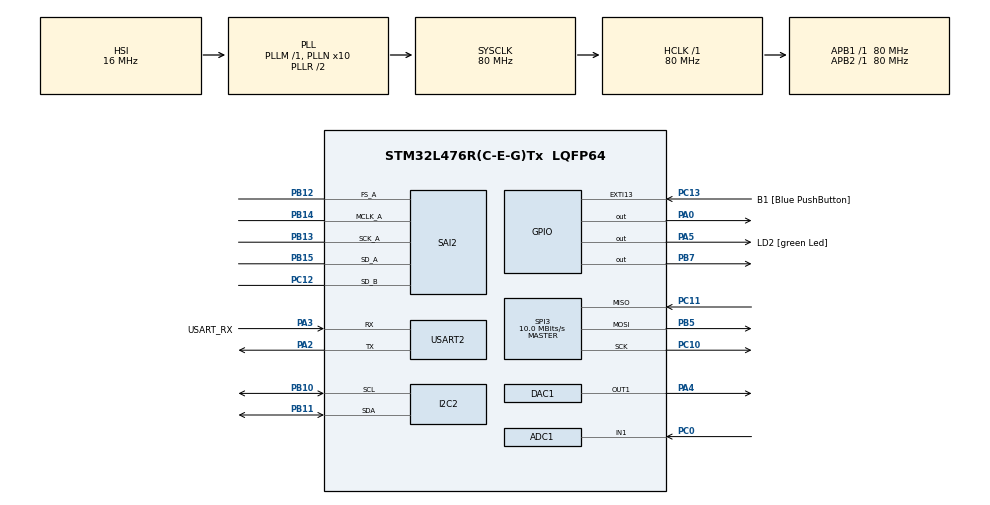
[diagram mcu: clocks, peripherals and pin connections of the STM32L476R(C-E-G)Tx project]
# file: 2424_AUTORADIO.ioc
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ADC1.Channel-0\#ChannelRegularConversion=ADC_CHANNEL_1
ADC1.NbrOfConversionFlag=1
ADC1.OffsetNumber-0\#ChannelRegularConversion=ADC_OFFSET_NONE
ADC1.Rank-0\#ChannelRegularConversion=1
ADC1.SamplingTime-0\#ChannelRegularConversion=ADC_SAMPLETIME_2CYCLES_5
ADC1.master=1
Dma.ADC1.3.Direction=DMA_PERIPH_TO_MEMORY
Dma.ADC1.3.Instance=DMA1_Channel1
Dma.ADC1.3.MemDataAlignment=DMA_MDATAALIGN_HALFWORD
Dma.ADC1.3.MemInc=DMA_MINC_ENABLE
Dma.ADC1.3.Mode=DMA_CIRCULAR
Dma.ADC1.3.PeriphDataAlignment=DMA_PDATAALIGN_HALFWORD
Dma.ADC1.3.PeriphInc=DMA_PINC_DISABLE
Dma.ADC1.3.Priority=DMA_PRIORITY_LOW
Dma.DAC_CH1.2.Direction=DMA_MEMORY_TO_PERIPH
Dma.DAC_CH1.2.Instance=DMA1_Channel3
Dma.DAC_CH1.2.MemDataAlignment=DMA_MDATAALIGN_HALFWORD
Dma.DAC_CH1.2.MemInc=DMA_MINC_ENABLE
Dma.DAC_CH1.2.Mode=DMA_CIRCULAR
Dma.DAC_CH1.2.PeriphDataAlignment=DMA_PDATAALIGN_HALFWORD
Dma.DAC_CH1.2.PeriphInc=DMA_PINC_DISABLE
Dma.DAC_CH1.2.Priority=DMA_PRIORITY_LOW
Dma.Request0=SAI2_A
Dma.Request1=SAI2_B
Dma.Request2=DAC_CH1
Dma.Request3=ADC1
Dma.SAI2_A.0.Direction=DMA_MEMORY_TO_PERIPH
Dma.SAI2_A.0.Instance=DMA1_Channel6
Dma.SAI2_A.0.MemDataAlignment=DMA_MDATAALIGN_WORD
Dma.SAI2_A.0.MemInc=DMA_MINC_ENABLE
Dma.SAI2_A.0.Mode=DMA_CIRCULAR
Dma.SAI2_A.0.PeriphDataAlignment=DMA_PDATAALIGN_WORD
Dma.SAI2_A.0.PeriphInc=DMA_PINC_DISABLE
Dma.SAI2_A.0.Priority=DMA_PRIORITY_LOW
Dma.SAI2_B.1.Direction=DMA_PERIPH_TO_MEMORY
Dma.SAI2_B.1.Instance=DMA1_Channel7
Dma.SAI2_B.1.MemDataAlignment=DMA_MDATAALIGN_WORD
Dma.SAI2_B.1.MemInc=DMA_MINC_ENABLE
Dma.SAI2_B.1.Mode=DMA_CIRCULAR
Dma.SAI2_B.1.PeriphDataAlignment=DMA_PDATAALIGN_WORD
Dma.SAI2_B.1.PeriphInc=DMA_PINC_DISABLE
Dma.SAI2_B.1.Priority=DMA_PRIORITY_LOW
FREERTOS.Tasks01=defaultTask,0,128,StartDefaultTask,Default,NULL,Dynamic,NULL,NULL
I2C2.Timing=0x10D19CE4
Mcu.Family=STM32L4
Mcu.Name=STM32L476R(C-E-G)Tx
Mcu.Package=LQFP64
NVIC.ADC1_2_IRQn=true\:5\:0\:false\:false\:true\:true\:true\:true\:true
NVIC.DMA1_Channel1_IRQn=true\:5\:0\:false\:false\:true\:true\:false\:true\:true
NVIC.DMA1_Channel3_IRQn=true\:5\:0\:false\:false\:true\:true\:false\:true\:true
NVIC.DMA1_Channel6_IRQn=true\:5\:0\:false\:false\:true\:true\:false\:true\:true
NVIC.DMA1_Channel7_IRQn=true\:5\:0\:false\:false\:true\:true\:false\:true\:true
NVIC.PriorityGroup=NVIC_PRIORITYGROUP_4
NVIC.SAI2_IRQn=true\:5\:0\:false\:false\:true\:true\:true\:true\:true
NVIC.SPI3_IRQn=true\:5\:0\:false\:false\:true\:true\:true\:true\:true
NVIC.TIM6_DAC_IRQn=true\:5\:0\:false\:false\:true\:true\:true\:true\:true
NVIC.USART2_IRQn=true\:5\:0\:false\:false\:true\:true\:true\:true\:true
PA0.Signal=GPIO_Output
PA13\ (JTMS-SWDIO).GPIO_Label=TMS
PA13\ (JTMS-SWDIO).Mode=Serial_Wire
PA13\ (JTMS-SWDIO).Signal=SYS_JTMS-SWDIO
PA14\ (JTCK-SWCLK).GPIO_Label=TCK
PA14\ (JTCK-SWCLK).Mode=Serial_Wire
PA14\ (JTCK-SWCLK).Signal=SYS_JTCK-SWCLK
PA2.Mode=Asynchronous
PA2.Signal=USART2_TX
PA3.GPIO_Label=USART_RX
PA3.GPIO_Mode=GPIO_MODE_AF_PP
PA3.GPIO_PuPd=GPIO_NOPULL
PA3.GPIO_Speed=GPIO_SPEED_FREQ_VERY_HIGH
PA3.Mode=Asynchronous
PA3.Signal=USART2_RX
PA4.Signal=COMP_DAC11_group
PA5.GPIO_Label=LD2 [green Led]
PA5.GPIO_ModeDefaultOutputPP=GPIO_MODE_OUTPUT_PP
PA5.GPIO_PuPd=GPIO_NOPULL
PA5.GPIO_Speed=GPIO_SPEED_FREQ_LOW
PA5.Signal=GPIO_Output
PB10.Mode=I2C
PB10.Signal=I2C2_SCL
PB11.Mode=I2C
PB11.Signal=I2C2_SDA
PB12.Mode=SAI_A_MasterWithClock
PB12.Signal=SAI2_FS_A
PB13.Mode=SAI_A_MasterWithClock
PB13.Signal=SAI2_SCK_A
PB14.Mode=SAI_A_MasterWithClock
PB14.Signal=SAI2_MCLK_A
PB15.Mode=SAI_A_MasterWithClock
PB15.Signal=SAI2_SD_A
PB5.Mode=Full_Duplex_Master
PB5.Signal=SPI3_MOSI
PB7.Signal=GPIO_Output
PC0.Signal=ADCx_IN1
PC10.Mode=Full_Duplex_Master
PC10.Signal=SPI3_SCK
PC11.Mode=Full_Duplex_Master
PC11.Signal=SPI3_MISO
PC12.Mode=SAI_B_SyncSlave
PC12.Signal=SAI2_SD_B
PC13.GPIO_Label=B1 [Blue PushButton]
PC13.GPIO_ModeDefaultEXTI=GPIO_MODE_IT_FALLING
PC13.GPIO_PuPd=GPIO_NOPULL
PC13.Signal=GPXTI13
PC14-OSC32_IN\ (PC14).Mode=LSE-External-Oscillator
PC14-OSC32_IN\ (PC14).Signal=RCC_OSC32_IN
PC15-OSC32_OUT\ (PC15).Mode=LSE-External-Oscillator
PC15-OSC32_OUT\ (PC15).Signal=RCC_OSC32_OUT
PH0-OSC_IN\ (PH0).Signal=RCC_OSC_IN
PH1-OSC_OUT\ (PH1).Signal=RCC_OSC_OUT
ProjectManager.HeapSize=0x200
ProjectManager.StackSize=0x400
ProjectManager.TargetToolchain=STM32CubeIDE
RCC.ADCFreq_Value=104000000
RCC.AHBFreq_Value=80000000
RCC.APB1Freq_Value=80000000
RCC.APB1TimFreq_Value=80000000
RCC.APB2Freq_Value=80000000
RCC.APB2TimFreq_Value=80000000
RCC.CortexFreq_Value=80000000
RCC.HCLKFreq_Value=80000000
RCC.HSE_VALUE=8000000
RCC.HSI_VALUE=16000000
RCC.MSI_VALUE=4000000
RCC.PLLN=10
RCC.PLLSAI1N=13
RCC.PLLSAI1P=RCC_PLLP_DIV17
RCC.PLLSourceVirtual=RCC_PLLSOURCE_HSI
RCC.PREFETCH_ENABLE=1
RCC.SYSCLKFreq_VALUE=80000000
RCC.SYSCLKSource=RCC_SYSCLKSOURCE_PLLCLK
RCC.USBFreq_Value=104000000
RCC.VCOOutputFreq_Value=160000000
SAI2.AudioFrequency-SAI_A_MasterWithClock=SAI_AUDIO_FREQUENCY_48K
SAI2.ErrorAudioFreq-SAI_A_MasterWithClock=-0.42 %
SAI2.InitProtocol-SAI_A_MasterWithClock=Enable
SAI2.InitProtocol-SAI_B_SyncSlave=Enable
SAI2.Instance-SAI_A_MasterWithClock=SAI$Index_Block_A
SAI2.Instance-SAI_B_SyncSlave=SAI$Index_Block_B
SAI2.MClockEnable-SAI_A_MasterWithClock=SAI_MASTERCLOCK_ENABLE
SAI2.RealAudioFreq-SAI_A_MasterWithClock=47.794 KHz
SAI2.VirtualMode-SAI_A_MasterWithClock=VM_MASTER
SAI2.VirtualMode-SAI_B_SyncSlave=VM_SLAVE
SAI2.VirtualProtocol-SAI_A_BASIC=VM_BASIC_PROTOCOL
SAI2.VirtualProtocol-SAI_B_BASIC=VM_BASIC_PROTOCOL
SH.ADCx_IN1.0=ADC1_IN1,IN1-Single-Ended
SH.COMP_DAC11_group.0=DAC1_OUT1,DAC_OUT1
SPI3.BaudRatePrescaler=SPI_BAUDRATEPRESCALER_8
SPI3.CalculateBaudRate=10.0 MBits/s
SPI3.DataSize=SPI_DATASIZE_8BIT
SPI3.Direction=SPI_DIRECTION_2LINES
SPI3.Mode=SPI_MODE_MASTER
SPI3.VirtualType=VM_MASTER
USART2.VirtualMode-Asynchronous=VM_ASYNC
VP_FREERTOS_VS_CMSIS_V1.Mode=CMSIS_V1
VP_SAI2_VP_$IpInstance_SAIA_SAI_BASIC.Mode=SAI_A_BASIC
VP_SAI2_VP_$IpInstance_SAIB_SAI_BASIC.Mode=SAI_B_BASIC
VP_TIM6_VS_ClockSourceINT.Mode=Enable_Timer
board=NUCLEO-L476RG

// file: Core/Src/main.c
/* USER CODE BEGIN Header */
/**
 **********
 * @file           : main.c
 * @brief          : Main program body
 **********
 * @attention
 *
 * Copyright (c) 2024 STMicroelectronics.
 * All rights reserved.
 *
 * This software is licensed under terms that can be found in the LICENSE file
 * in the root directory of this software component.
 * If no LICENSE file comes with this software, it is provided AS-IS.
 *
 **********
 */
/* USER CODE END Header */
#include "main.h"
#include "cmsis_os.h"
#include "adc.h"
#include "dac.h"
#include "dma.h"
#include "i2c.h"
#include "sai.h"
#include "spi.h"
#include "tim.h"
#include "usart.h"
#include "gpio.h"

/* USER CODE BEGIN Includes */
#include "sgtl5000.h"
/* USER CODE END Includes */

/* USER CODE BEGIN PD */
#define SGTL5000_I2C_ADDR  0x14  // Adresse I2C du SGTL5000
#define CHIP_ID_REG        0x0000 // Adresse du registre CHIP_ID
#define TEST_REGISTER      0x0030//CHIP_ANA_POWER
#define BUFFER_SIZE 256  // Taille du buffer DMA
uint16_t tx_buffer[BUFFER_SIZE];  // Buffer pour les données à transmettre
uint16_t rx_buffer[BUFFER_SIZE];  // Buffer pour les données reçues
#define TRIANGLE_STEPS 256  // Nombre d'échantillons dans un cycle
uint16_t triangle_wave[TRIANGLE_STEPS];
#define MAX_ADC_VALUE 4095
uint16_t adc_buffer[BUFFER_SIZE];
/* USER CODE END PD */

void SystemClock_Config(void);
void PeriphCommonClock_Config(void);
void MX_FREERTOS_Init(void);

/* USER CODE BEGIN 0 */
int __io_putchar(int ch) {
	HAL_UART_Transmit(&huart2, (uint8_t*)&ch, 1, HAL_MAX_DELAY);
	return ch;
}

void I2C_Scan(void) {
	printf("Scanning I2C bus\r\n");
	for (uint16_t addr = 0; addr < 128; addr++) {
		if (HAL_I2C_IsDeviceReady(&hi2c2, addr , 2, HAL_MAX_DELAY) == HAL_OK) {
			printf("Périphérique trouvé à l'adresse 0x%02X\r\n", addr);
		}
	}
	printf("Scan terminé.\r\n");
}

void Read_CHIP_ID_Debug(void) {
	uint8_t chip_id[2] = {0};

	printf("Lecture du registre CHIP_ID \r\n");

	HAL_StatusTypeDef status = HAL_I2C_Mem_Read(&hi2c2, SGTL5000_I2C_ADDR, CHIP_ID_REG, I2C_MEMADD_SIZE_16BIT, chip_id, 2, HAL_MAX_DELAY);
	if (status == HAL_OK) {
		// Appliquer le décalage de 8 bits pour le MSB
		uint16_t chip_id_val = (chip_id[0] << 8) | chip_id[1];
		printf("CHIP_ID lu avec succès : 0x%04X\r\n", chip_id_val);
	} else {
		printf("Erreur : Impossible de lire le CHIP_ID\r\n");
		uint32_t i2c_error = HAL_I2C_GetError(&hi2c2);
		printf("Erreur I2C\r\n", i2c_error);
	}
}
void Read_Write_Test_Register(void) {
	uint8_t read_data[2] = {0};
	uint16_t test_value = 0xABCD; // Exemple de valeur à écrire
	uint8_t test_data[2] = { (test_value >> 8) & 0xFF, test_value & 0xFF };

	printf("Lecture du registre avant écriture\r\n");
	if (HAL_I2C_Mem_Read(&hi2c2, SGTL5000_I2C_ADDR, TEST_REGISTER, I2C_MEMADD_SIZE_16BIT, read_data, 2, HAL_MAX_DELAY) == HAL_OK) {
		uint16_t value = (read_data[0]) | read_data[1];
		printf("Valeur lue avant écriture : 0x%04X\r\n", value);
	} else {
		printf("Erreur lors de la lecture du registre avant écriture\r\n");
	}

	printf("Écriture dans le registre\r\n");
	if (HAL_I2C_Mem_Write(&hi2c2, SGTL5000_I2C_ADDR, TEST_REGISTER, I2C_MEMADD_SIZE_16BIT, test_data, 2, HAL_MAX_DELAY) == HAL_OK) {
		printf("Valeur écrite avec succès : 0x%04X\r\n", test_value);
	} else {
		printf("Erreur lors de l'écriture dans le registre\r\n");
	}

	printf("Lecture du registre après écriture\r\n");
	if (HAL_I2C_Mem_Read(&hi2c2, SGTL5000_I2C_ADDR, TEST_REGISTER, I2C_MEMADD_SIZE_16BIT, read_data, 2, HAL_MAX_DELAY) == HAL_OK) {
		uint16_t value = (read_data[0] << 8) | read_data[1];
		printf("Valeur lue après écriture : 0x%04X\r\n", value);
	} else {
		printf("Erreur lors de la lecture du registre après écriture\r\n");
	}
}
void Generate_Triangle_Wave(void) {
	for (int i = 0; i < TRIANGLE_STEPS / 2; i++) {
		triangle_wave[i] = (4095 * i) / (TRIANGLE_STEPS / 2);  // Croissance linéaire
	}
	for (int i = TRIANGLE_STEPS / 2; i < TRIANGLE_STEPS; i++) {
		triangle_wave[i] = 4095 - ((4095 * (i - TRIANGLE_STEPS / 2)) / (TRIANGLE_STEPS / 2));  // Décroissance linéaire
	}

	// Ajout de vérifications avec printf
	printf("Signal triangulaire genere :\r\n");
	for (int i = 0; i < TRIANGLE_STEPS; i++) {
		printf("Echantillon %d : %d\r\n", i, triangle_wave[i]);
	}
}
/* USER CODE END 0 */

int main(void)
{

	/* USER CODE BEGIN 1 */
	HAL_StatusTypeDef status1, status2;
	/* USER CODE END 1 */

	/* MCU Configuration--------------------------------------------------------*/

	/* Reset of all peripherals, Initializes the Flash interface and the Systick. */
	HAL_Init();

	/* Configure the system clock */
	SystemClock_Config();

	/* Configure the peripherals common clocks */
	PeriphCommonClock_Config();

	/* Initialize all configured peripherals */
	MX_GPIO_Init();
	MX_DMA_Init();
	MX_USART2_UART_Init();
	MX_SPI3_Init();
	MX_I2C2_Init();
	MX_SAI2_Init();
	MX_DAC1_Init();
	MX_TIM6_Init();
	MX_ADC1_Init();
	/* USER CODE BEGIN 2 */
	__HAL_SAI_ENABLE(&hsai_BlockA2);
	printf("Demarrage du systeme...\r\n");
	I2C_Scan();
	Read_CHIP_ID_Debug();
	Read_Write_Test_Register();
	printf("Début des tests des registres SGTL5000\r\n");

	// Tester chaque registre
	Test_Register(&hi2c2, CHIP_ANA_POWER, 0x6AFF);
	Test_Register(&hi2c2, CHIP_LINREG_CTRL, 0x006C);
	Test_Register(&hi2c2, CHIP_REF_CTRL, 0x004E);
	Test_Register(&hi2c2, CHIP_LINE_OUT_CTRL, 0x0322);
	Test_Register(&hi2c2, CHIP_SHORT_CTRL, 0x1106);
	Test_Register(&hi2c2, CHIP_ANA_CTRL, 0x0133);
	Test_Register(&hi2c2, CHIP_DIG_POWER, 0x0073);
	Test_Register(&hi2c2, CHIP_LINE_OUT_VOL, 0x0505);
	Test_Register(&hi2c2, CHIP_CLK_CTRL, 0x0002);
	Test_Register(&hi2c2, CHIP_I2S_CTRL, 0x0001);
	Test_Register(&hi2c2, CHIP_ADCDAC_CTRL, 0x000C);
	Test_Register(&hi2c2, CHIP_DAC_VOL, 0x3C3C);

	printf("Tests terminés.\r\n");
	printf("Démarrage du système...\r\n");
	/* Démarrer la transmission DMA */
	if (HAL_SAI_Transmit_DMA(&hsai_BlockA2, tx_buffer, BUFFER_SIZE) != HAL_OK) {
		printf("Erreur : Impossible de démarrer la transmission I2S\r\n");
		Error_Handler();
	}

	printf("Transmission I2S démarrée avec succès\r\n");

	// Génération du signal triangulaire
	Generate_Triangle_Wave();

	// Démarrer l'ADC
	status1 = HAL_ADC_Start_DMA(&hadc1, (uint32_t *)adc_buffer, BUFFER_SIZE);
	if (status1 != HAL_OK) {
		printf("Erreur ADC DMA : %d\r\n", status1);
		Error_Handler();
	}

	// Démarrer le DAC
	status2 = HAL_DAC_Start_DMA(&hdac1, DAC_CHANNEL_1, (uint32_t *)adc_buffer, BUFFER_SIZE, DAC_ALIGN_12B_R);
	if (status2 != HAL_OK) {
		printf("Erreur DAC DMA : %d\r\n", status2);
		Error_Handler();
	}

	// Démarrer le Timer 6 pour synchroniser les mises à jour du DAC
	if (HAL_TIM_Base_Start(&htim6) != HAL_OK) {
		printf("Erreur : Impossible de démarrer le Timer 6\r\n");
		Error_Handler();
	}
	printf("Initialisation terminée...\r\n");
	printf("Signal triangulaire envoyé au DAC...\r\n");

	/* USER CODE END 2 */

	/* Call init function for freertos objects (in cmsis_os2.c) */
	MX_FREERTOS_Init();

	/* Start scheduler */
	osKernelStart();

	/* We should never get here as control is now taken by the scheduler */

	/* Infinite loop */
	while (1)
	{

	}
}

void SystemClock_Config(void)
{
	RCC_OscInitTypeDef RCC_OscInitStruct = {0};
	RCC_ClkInitTypeDef RCC_ClkInitStruct = {0};

	/** Configure the main internal regulator output voltage
	 */
	if (HAL_PWREx_ControlVoltageScaling(PWR_REGULATOR_VOLTAGE_SCALE1) != HAL_OK)
	{
		Error_Handler();
	}

	/** Initializes the RCC Oscillators according to the specified parameters
	 * in the RCC_OscInitTypeDef structure.
	 */
	RCC_OscInitStruct.OscillatorType = RCC_OSCILLATORTYPE_HSI;
	RCC_OscInitStruct.HSIState = RCC_HSI_ON;
	RCC_OscInitStruct.HSICalibrationValue = RCC_HSICALIBRATION_DEFAULT;
	RCC_OscInitStruct.PLL.PLLState = RCC_PLL_ON;
	RCC_OscInitStruct.PLL.PLLSource = RCC_PLLSOURCE_HSI;
	RCC_OscInitStruct.PLL.PLLM = 1;
	RCC_OscInitStruct.PLL.PLLN = 10;
	RCC_OscInitStruct.PLL.PLLP = RCC_PLLP_DIV7;
	RCC_OscInitStruct.PLL.PLLQ = RCC_PLLQ_DIV2;
	RCC_OscInitStruct.PLL.PLLR = RCC_PLLR_DIV2;
	if (HAL_RCC_OscConfig(&RCC_OscInitStruct) != HAL_OK)
	{
		Error_Handler();
	}

	/** Initializes the CPU, AHB and APB buses clocks
	 */
	RCC_ClkInitStruct.ClockType = RCC_CLOCKTYPE_HCLK|RCC_CLOCKTYPE_SYSCLK
			|RCC_CLOCKTYPE_PCLK1|RCC_CLOCKTYPE_PCLK2;
	RCC_ClkInitStruct.SYSCLKSource = RCC_SYSCLKSOURCE_PLLCLK;
	RCC_ClkInitStruct.AHBCLKDivider = RCC_SYSCLK_DIV1;
	RCC_ClkInitStruct.APB1CLKDivider = RCC_HCLK_DIV1;
	RCC_ClkInitStruct.APB2CLKDivider = RCC_HCLK_DIV1;

	if (HAL_RCC_ClockConfig(&RCC_ClkInitStruct, FLASH_LATENCY_4) != HAL_OK)
	{
		Error_Handler();
	}
}

void PeriphCommonClock_Config(void)
{
	RCC_PeriphCLKInitTypeDef PeriphClkInit = {0};

	/** Initializes the peripherals clock
	 */
	PeriphClkInit.PeriphClockSelection = RCC_PERIPHCLK_SAI2|RCC_PERIPHCLK_ADC;
	PeriphClkInit.Sai2ClockSelection = RCC_SAI2CLKSOURCE_PLLSAI1;
	PeriphClkInit.AdcClockSelection = RCC_ADCCLKSOURCE_PLLSAI1;
	PeriphClkInit.PLLSAI1.PLLSAI1Source = RCC_PLLSOURCE_HSI;
	PeriphClkInit.PLLSAI1.PLLSAI1M = 1;
	PeriphClkInit.PLLSAI1.PLLSAI1N = 13;
	PeriphClkInit.PLLSAI1.PLLSAI1P = RCC_PLLP_DIV17;
	PeriphClkInit.PLLSAI1.PLLSAI1Q = RCC_PLLQ_DIV2;
	PeriphClkInit.PLLSAI1.PLLSAI1R = RCC_PLLR_DIV2;
	PeriphClkInit.PLLSAI1.PLLSAI1ClockOut = RCC_PLLSAI1_SAI1CLK|RCC_PLLSAI1_ADC1CLK;
	if (HAL_RCCEx_PeriphCLKConfig(&PeriphClkInit) != HAL_OK)
	{
		Error_Handler();
	}
}

void Error_Handler(void)
{
	__disable_irq();
	while (1)
	{
	}
}
